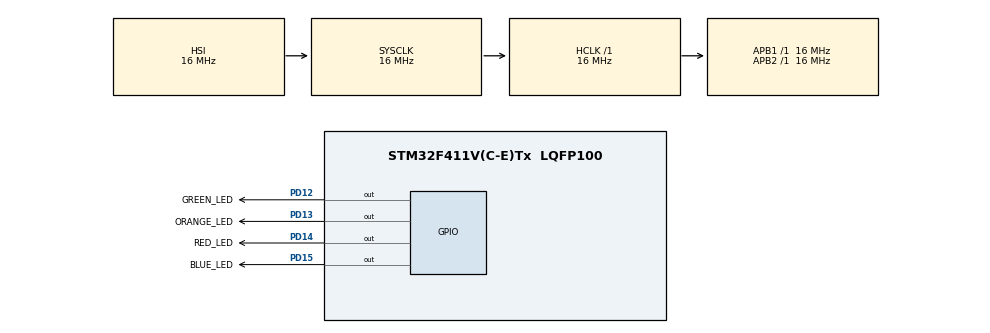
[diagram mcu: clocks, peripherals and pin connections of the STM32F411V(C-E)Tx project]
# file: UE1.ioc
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Mcu.Family=STM32F4
Mcu.Name=STM32F411V(C-E)Tx
Mcu.Package=LQFP100
NVIC.PriorityGroup=NVIC_PRIORITYGROUP_4
PD12.GPIO_Label=GREEN_LED
PD12.Signal=GPIO_Output
PD13.GPIO_Label=ORANGE_LED
PD13.Signal=GPIO_Output
PD14.GPIO_Label=RED_LED
PD14.Signal=GPIO_Output
PD15.GPIO_Label=BLUE_LED
PD15.Signal=GPIO_Output
ProjectManager.HeapSize=0x200
ProjectManager.StackSize=0x400
ProjectManager.TargetToolchain=CMake
RCC.AHBFreq_Value=16000000
RCC.APB1Freq_Value=16000000
RCC.APB2Freq_Value=16000000
RCC.CortexFreq_Value=16000000
RCC.HSE_VALUE=25000000
RCC.HSI_VALUE=16000000
RCC.LSE_VALUE=32768
RCC.SYSCLKFreq_VALUE=16000000
RCC.VCOOutputFreq_Value=192000000
board=custom

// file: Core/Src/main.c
/* USER CODE BEGIN Header */
/**
  ******************************************************************************
  * @file           : main.c
  * @brief          : Main program body
  ******************************************************************************
  * @attention
  *
  * Copyright (c) 2026 STMicroelectronics.
  * All rights reserved.
  *
  * This software is licensed under terms that can be found in the LICENSE file
  * in the root directory of this software component.
  * If no LICENSE file comes with this software, it is provided AS-IS.
  *
  ******************************************************************************
  */
/* USER CODE END Header */
#include "main.h"
#include "gpio.h"

/* USER CODE BEGIN PV */
static const uint16_t leds[] = {GREEN_LED_Pin, ORANGE_LED_Pin, RED_LED_Pin, BLUE_LED_Pin};
/* USER CODE END PV */

void SystemClock_Config(void);
/* USER CODE BEGIN PFP */
static void HelloMicroController(void);
static void runInCircles(void);
/* USER CODE END PFP */

/* USER CODE BEGIN 0 */
static void HelloMicroController(void) {
  HAL_GPIO_TogglePin(GREEN_LED_GPIO_Port, GREEN_LED_Pin);
  HAL_Delay(500);
}

static void runInCircles(void) {
  static uint8_t led;
  static uint32_t previous_time;

  uint32_t current_time = HAL_GetTick();

  if (current_time - previous_time >= 500U) {
    HAL_GPIO_WritePin(GPIOD, GREEN_LED_Pin | RED_LED_Pin | BLUE_LED_Pin | ORANGE_LED_Pin,GPIO_PIN_RESET);
    HAL_GPIO_WritePin(GPIOD, leds[led], GPIO_PIN_SET);
    led = (led + 1U) % 4U;
    previous_time = current_time;
  }
}
/* USER CODE END 0 */

int main(void)
{

  /* MCU Configuration--------------------------------------------------------*/

  /* Reset of all peripherals, Initializes the Flash interface and the Systick. */
  HAL_Init();

  /* Configure the system clock */
  SystemClock_Config();

  /* Initialize all configured peripherals */
  MX_GPIO_Init();

  /* Infinite loop */
  while (1)
  {

    /* USER CODE BEGIN 3 */
    // HelloMicroController();
    runInCircles();
  }
  /* USER CODE END 3 */
}

void SystemClock_Config(void)
{
  RCC_OscInitTypeDef RCC_OscInitStruct = {0};
  RCC_ClkInitTypeDef RCC_ClkInitStruct = {0};

  /** Configure the main internal regulator output voltage
  */
  __HAL_RCC_PWR_CLK_ENABLE();
  __HAL_PWR_VOLTAGESCALING_CONFIG(PWR_REGULATOR_VOLTAGE_SCALE1);

  /** Initializes the RCC Oscillators according to the specified parameters
  * in the RCC_OscInitTypeDef structure.
  */
  RCC_OscInitStruct.OscillatorType = RCC_OSCILLATORTYPE_HSI;
  RCC_OscInitStruct.HSIState = RCC_HSI_ON;
  RCC_OscInitStruct.HSICalibrationValue = RCC_HSICALIBRATION_DEFAULT;
  RCC_OscInitStruct.PLL.PLLState = RCC_PLL_NONE;
  if (HAL_RCC_OscConfig(&RCC_OscInitStruct) != HAL_OK)
  {
    Error_Handler();
  }

  /** Initializes the CPU, AHB and APB buses clocks
  */
  RCC_ClkInitStruct.ClockType = RCC_CLOCKTYPE_HCLK|RCC_CLOCKTYPE_SYSCLK
                              |RCC_CLOCKTYPE_PCLK1|RCC_CLOCKTYPE_PCLK2;
  RCC_ClkInitStruct.SYSCLKSource = RCC_SYSCLKSOURCE_HSI;
  RCC_ClkInitStruct.AHBCLKDivider = RCC_SYSCLK_DIV1;
  RCC_ClkInitStruct.APB1CLKDivider = RCC_HCLK_DIV1;
  RCC_ClkInitStruct.APB2CLKDivider = RCC_HCLK_DIV1;

  if (HAL_RCC_ClockConfig(&RCC_ClkInitStruct, FLASH_LATENCY_0) != HAL_OK)
  {
    Error_Handler();
  }
}

void Error_Handler(void)
{
  __disable_irq();
  while (1)
  {
  }
}
